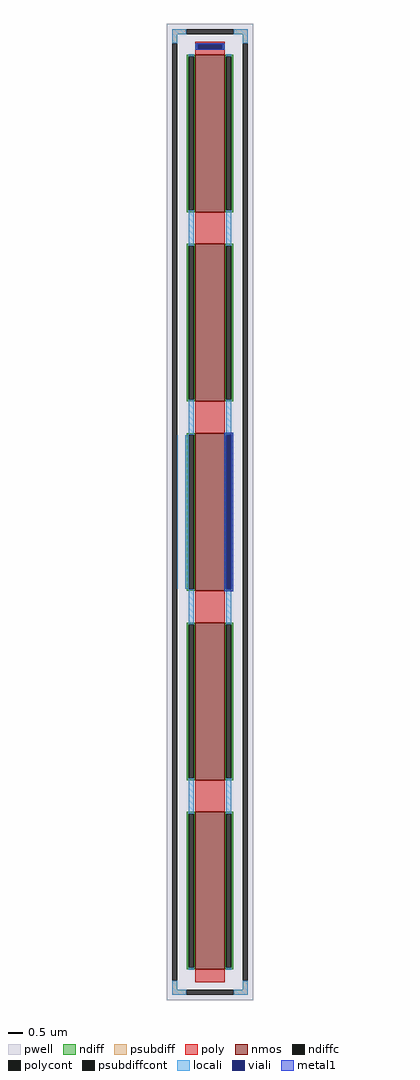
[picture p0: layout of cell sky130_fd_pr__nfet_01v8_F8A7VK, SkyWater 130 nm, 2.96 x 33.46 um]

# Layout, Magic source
magic
tech sky130A
magscale 1 2
<< pwell >>
rect -296 -3346 296 3346
<< nmos >>
rect -100 2056 100 3136
rect -100 758 100 1838
rect -100 -540 100 540
rect -100 -1838 100 -758
rect -100 -3136 100 -2056
<< ndiff >>
rect -158 3124 -100 3136
rect -158 2068 -146 3124
rect -112 2068 -100 3124
rect -158 2056 -100 2068
rect 100 3124 158 3136
rect 100 2068 112 3124
rect 146 2068 158 3124
rect 100 2056 158 2068
rect -158 1826 -100 1838
rect -158 770 -146 1826
rect -112 770 -100 1826
rect -158 758 -100 770
rect 100 1826 158 1838
rect 100 770 112 1826
rect 146 770 158 1826
rect 100 758 158 770
rect -158 528 -100 540
rect -158 -528 -146 528
rect -112 -528 -100 528
rect -158 -540 -100 -528
rect 100 528 158 540
rect 100 -528 112 528
rect 146 -528 158 528
rect 100 -540 158 -528
rect -158 -770 -100 -758
rect -158 -1826 -146 -770
rect -112 -1826 -100 -770
rect -158 -1838 -100 -1826
rect 100 -770 158 -758
rect 100 -1826 112 -770
rect 146 -1826 158 -770
rect 100 -1838 158 -1826
rect -158 -2068 -100 -2056
rect -158 -3124 -146 -2068
rect -112 -3124 -100 -2068
rect -158 -3136 -100 -3124
rect 100 -2068 158 -2056
rect 100 -3124 112 -2068
rect 146 -3124 158 -2068
rect 100 -3136 158 -3124
<< ndiffc >>
rect -146 2068 -112 3124
rect 112 2068 146 3124
rect -146 770 -112 1826
rect 112 770 146 1826
rect -146 -528 -112 528
rect 112 -528 146 528
rect -146 -1826 -112 -770
rect 112 -1826 146 -770
rect -146 -3124 -112 -2068
rect 112 -3124 146 -2068
<< psubdiff >>
rect -260 3276 -164 3310
rect 164 3276 260 3310
rect -260 3214 -226 3276
rect 226 3214 260 3276
rect -260 -3276 -226 -3214
rect 226 -3276 260 -3214
rect -260 -3310 -164 -3276
rect 164 -3310 260 -3276
<< psubdiffcont >>
rect -164 3276 164 3310
rect -260 -3214 -226 3214
rect 226 -3214 260 3214
rect -164 -3310 164 -3276
<< poly >>
rect -100 3208 100 3224
rect -100 3174 -84 3208
rect 84 3174 100 3208
rect -100 3136 100 3174
rect -100 1838 100 2056
rect -100 540 100 758
rect -100 -758 100 -540
rect -100 -2056 100 -1838
rect -100 -3224 100 -3136
<< polycont >>
rect -84 3174 84 3208
<< locali >>
rect -260 3276 -164 3310
rect 164 3276 260 3310
rect -260 3214 -226 3276
rect 226 3214 260 3276
rect -100 3174 -84 3208
rect 84 3174 100 3208
rect -146 3124 -112 3140
rect -146 1826 -112 2068
rect -146 528 -112 770
rect -226 -527 -221 527
rect -169 -527 -146 527
rect 112 3124 146 3140
rect 112 1826 146 2068
rect 112 528 146 770
rect 111 -237 112 201
rect -146 -770 -112 -528
rect -146 -2068 -112 -1826
rect -146 -3140 -112 -3124
rect 112 -770 146 -528
rect 112 -2068 146 -1826
rect 112 -3140 146 -3124
rect -260 -3276 -226 -3214
rect 226 -3276 260 -3214
rect -260 -3310 -164 -3276
rect 164 -3310 260 -3276
<< viali >>
rect -84 3174 84 3208
rect 112 -528 146 528
<< metal1 >>
rect -96 3208 96 3214
rect -96 3174 -84 3208
rect 84 3174 96 3208
rect -96 3168 96 3174
rect 97 528 161 543
rect 97 -528 112 528
rect 146 -528 161 528
rect 97 -543 161 -528
<< properties >>
string FIXED_BBOX -242 -3292 242 3292
string gencell sky130_fd_pr__nfet_01v8
string library sky130
string parameters w 5.4 l 1 m 5 nf 1 diffcov 100 polycov 100 guard 1 glc 1 grc 1 gtc 1 gbc 1 tbcov 100 rlcov 100 topc 1 botc 1 poverlap 0 doverlap 1 lmin 0.15 wmin 0.42 compatible {sky130_fd_pr__nfet_01v8 sky130_fd_pr__nfet_01v8_lvt  sky130_fd_bs_flash__special_sonosfet_star  sky130_fd_pr__nfet_g5v0d10v5 sky130_fd_pr__nfet_05v0_nvt  sky130_fd_pr__nfet_03v3_nvt} full_metal 1 viasrc 100 viadrn 100 viagate 100 viagb 0 viagr 0 viagl 0 viagt 0
<< end >>
